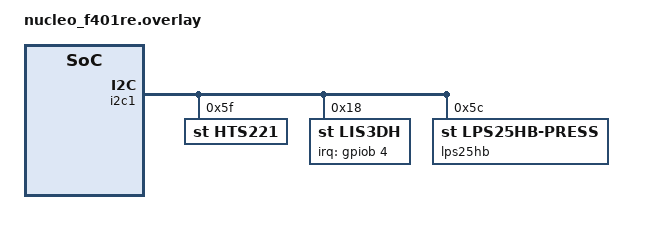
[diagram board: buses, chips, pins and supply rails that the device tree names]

&i2c1 {
	hts221@5f {
		compatible = "st,hts221";
		reg = <0x5f>;
	};
	lis3dh@18 {
		compatible = "st,lis3dh", "st,lis2dh";
		reg = <0x18>;
		irq-gpios = <&gpiob 4 GPIO_ACTIVE_HIGH>;
	};
	lps25hb@5c {
		compatible = "st,lps25hb-press";
		reg = <0x5c>;
	};
};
